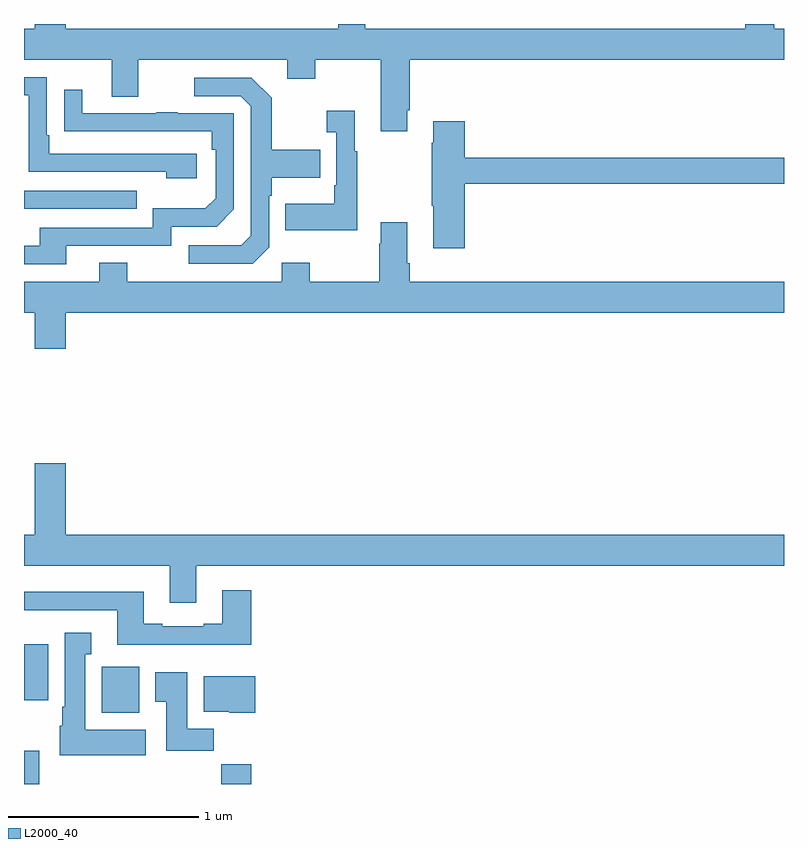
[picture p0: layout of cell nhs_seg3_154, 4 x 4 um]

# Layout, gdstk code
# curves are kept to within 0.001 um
import gdstk
lib = gdstk.Library(unit=1e-6, precision=1e-09)
def R(c, l, rs):  # rectangles x0, y0, x1, y1
    for r in rs: c.add(gdstk.rectangle(r[:2], r[2:], *l))
def P(c, l, *ps):  # polygons
    for p in ps: c.add(gdstk.Polygon(p, *l))
L2000_40 = (2000, 40)

nhs_seg3_154 = lib.new_cell('nhs_seg3_154')
R(nhs_seg3_154, L2000_40, [(117,734.4,117.079,734.575), (118.039,734.4,118.196,734.504), (117.41,734.774,117.607,735.016), (117,734.84,117.127,735.136), (117,737.427,117.593,737.523)])
P(nhs_seg3_154, L2000_40, [(119.017,737.947),(119.03,737.947),(119.03,738.212),(121,738.212),(121,738.376),(120.949,738.376),(120.949,738.4),(120.797,738.4),(120.797,738.376),(118.795,738.376),(118.795,738.4),(118.655,738.4),(118.655,738.376),(117.22,738.376),(117.22,738.4),(117.056,738.4),(117.056,738.376),(117,738.376),(117,738.212),(117.461,738.212),(117.461,738.018),(117.601,738.018),(117.601,738.212),(118.385,738.212),(118.385,738.113),(118.533,738.113),(118.533,738.212),(118.877,738.212),(118.877,737.835),(119.017,737.835)],
  [(117.91,737.718),(117.133,737.718),(117.133,737.815),(117.12,737.815),(117.12,738.12),(117,738.12),(117,738.024),(117.024,738.024),(117.024,737.622),(117.749,737.622),(117.749,737.588),(117.91,737.588)],
  [(118.29,737.226),(118.29,737.495),(118.303,737.495),(118.303,737.591),(118.559,737.591),(118.559,737.739),(118.303,737.739),(118.303,738.011),(118.197,738.117),(117.897,738.117),(117.897,738.021),(118.14,738.021),(118.194,737.967),(118.194,737.286),(118.143,737.235),(117.867,737.235),(117.867,737.139),(118.203,737.139)],
  [(117.223,737.232),(117.774,737.232),(117.774,737.334),(118.014,737.334),(118.104,737.424),(118.104,737.931),(117.809,737.931),(117.809,737.936),(117.697,737.936),(117.697,737.931),(117.307,737.931),(117.307,738.055),(117.211,738.055),(117.211,737.836),(117.988,737.835),(117.988,737.738),(118.008,737.738),(118.008,737.484),(117.955,737.431),(117.678,737.431),(117.678,737.328),(117.083,737.328),(117.083,737.232),(117,737.232),(117,737.136),(117.223,737.136)],
  [(118.753,737.731),(118.741,737.731),(118.741,737.944),(118.593,737.944),(118.593,737.831),(118.644,737.831),(118.644,737.551),(118.632,737.551),(118.632,737.455),(118.375,737.455),(118.375,737.315),(118.753,737.315)],
  [(119.321,737.56),(121,737.56),(121,737.696),(119.321,737.696),(119.321,737.887),(119.153,737.887),(119.153,737.774),(119.146,737.774),(119.146,737.443),(119.153,737.443),(119.153,737.22),(119.321,737.22)],
  [(117.22,736.88),(121,736.88),(121,737.044),(119.03,737.044),(119.03,737.14),(119.017,737.14),(119.017,737.356),(118.877,737.356),(118.877,737.243),(118.87,737.243),(118.87,737.044),(118.503,737.044),(118.503,737.143),(118.356,737.143),(118.356,737.044),(117.543,737.044),(117.543,737.143),(117.395,737.143),(117.395,737.044),(117,737.044),(117,736.88),(117.056,736.88),(117.056,736.692),(117.22,736.692)],
  [(117.907,735.548),(121,735.548),(121,735.712),(117.22,735.712),(117.22,736.087),(117.056,736.087),(117.056,735.712),(117,735.712),(117,735.548),(117.767,735.548),(117.767,735.354),(117.907,735.354)],
  [(118.196,735.421),(118.043,735.421),(118.043,735.244),(117.947,735.244),(117.947,735.231),(117.727,735.231),(117.727,735.244),(117.631,735.244),(117.631,735.412),(117,735.412),(117,735.315),(117.491,735.315),(117.491,735.134),(118.196,735.134)],
  [(117.64,734.686),(117.322,734.686),(117.322,735.083),(117.355,735.083),(117.355,735.196),(117.215,735.196),(117.215,734.806),(117.2,734.806),(117.2,734.706),(117.188,734.706),(117.188,734.552),(117.64,734.552)],
  [(117.998,734.692),(117.859,734.692),(117.859,734.989),(117.692,734.989),(117.692,734.833),(117.749,734.833),(117.749,734.574),(117.998,734.574)],
  [(118.216,734.968),(117.947,734.968),(117.947,734.78),(118.08,734.78),(118.08,734.774),(118.216,734.774)])

lib.write_gds('nhs_seg3_154.gds')
